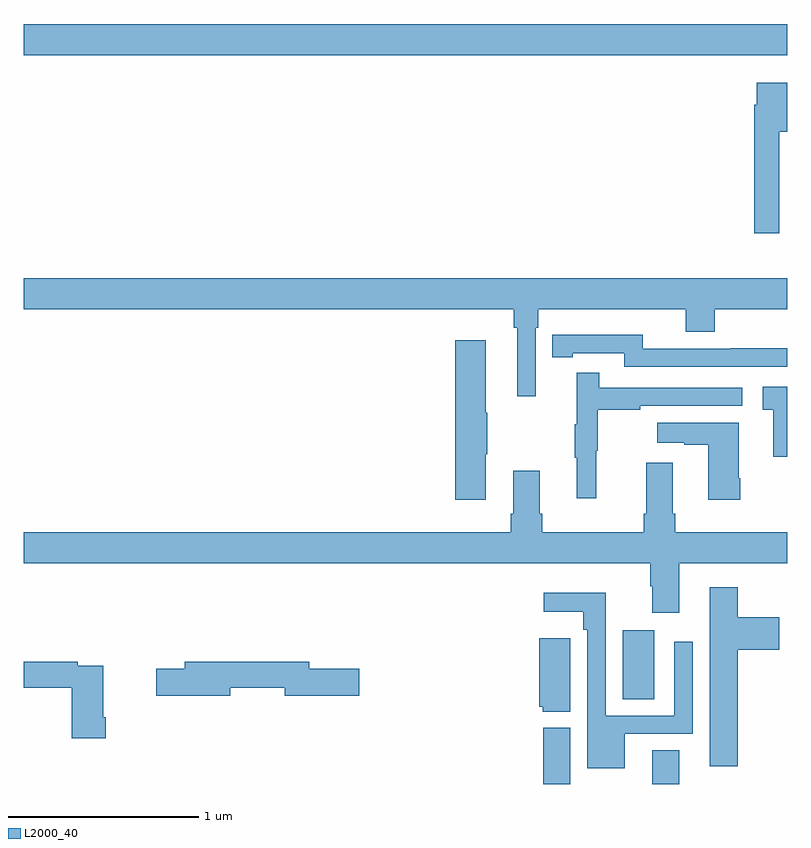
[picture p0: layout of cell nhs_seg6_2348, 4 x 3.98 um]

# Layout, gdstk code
import gdstk
lib = gdstk.Library(unit=1e-6, precision=1e-09)
def R(c, l, rs):  # rectangles x0, y0, x1, y1
    for r in rs: c.add(gdstk.rectangle(r[:2], r[2:], *l))
def P(c, l, *ps):  # polygons
    for p in ps: c.add(gdstk.Polygon(p, *l))
L2000_40 = (2000, 40)

nhs_seg6_2348 = lib.new_cell('nhs_seg6_2348')
R(nhs_seg6_2348, L2000_40, [(253.721,959.5,253.864,959.794), (254.294,959.5,254.434,959.678), (254.138,959.944,254.305,960.307), (251,963.32,255,963.484)])
P(nhs_seg6_2348, L2000_40, [(254.959,962.919),(255,962.919),(255,963.175),(254.84,963.175),(254.84,963.062),(254.828,963.062),(254.828,962.388),(254.959,962.388)],
  [(253.683,961.892),(253.697,961.892),(253.697,961.988),(254.468,961.988),(254.468,961.871),(254.621,961.871),(254.621,961.988),(255,961.988),(255,962.152),(251,962.152),(251,961.988),(253.567,961.988),(253.567,961.892),(253.586,961.892),(253.586,961.533),(253.683,961.533)],
  [(255,961.784),(254.704,961.784),(254.704,961.782),(254.244,961.782),(254.244,961.855),(253.876,961.855),(253.876,961.854),(253.768,961.854),(253.768,961.738),(253.876,961.738),(253.876,961.758),(254.148,961.758),(254.148,961.686),(255,961.686)],
  [(253.42,961.228),(253.428,961.228),(253.428,961.445),(253.42,961.445),(253.42,961.825),(253.262,961.825),(253.262,960.99),(253.42,960.99)],
  [(254,961.248),(254.008,961.248),(254.008,961.462),(254.231,961.462),(254.231,961.482),(254.764,961.482),(254.764,961.578),(254.015,961.578),(254.015,961.657),(253.898,961.657),(253.898,961.385),(253.887,961.385),(253.887,961.211),(253.898,961.211),(253.898,960.999),(254,960.999)],
  [(255,961.582),(254.874,961.582),(254.874,961.461),(254.927,961.461),(254.927,961.215),(255,961.215)],
  [(254.754,961.102),(254.746,961.102),(254.746,961.393),(254.319,961.393),(254.319,961.289),(254.462,961.289),(254.462,961.279),(254.588,961.279),(254.588,960.99),(254.754,960.99)],
  [(254.434,960.656),(255,960.656),(255,960.82),(254.414,960.82),(254.414,960.916),(254.401,960.916),(254.401,961.183),(254.261,961.183),(254.261,960.916),(254.249,960.916),(254.249,960.82),(253.718,960.82),(253.718,960.916),(253.705,960.916),(253.705,961.141),(253.565,961.141),(253.565,960.916),(253.553,960.916),(253.553,960.82),(251,960.82),(251,960.656),(254.282,960.656),(254.282,960.536),(254.294,960.536),(254.294,960.399),(254.434,960.399)],
  [(254.741,960.203),(254.959,960.203),(254.959,960.373),(254.741,960.373),(254.741,960.532),(254.594,960.532),(254.594,959.592),(254.741,959.592)],
  [(254.149,959.763),(254.505,959.763),(254.505,960.247),(254.409,960.247),(254.409,959.859),(254.049,959.859),(254.049,960.502),(253.725,960.502),(253.725,960.404),(253.933,960.404),(253.933,960.308),(253.953,960.308),(253.953,959.582),(254.149,959.582)],
  [(253.864,960.265),(253.7,960.265),(253.7,959.904),(253.719,959.904),(253.719,959.879),(253.864,959.879)],
  [(252.082,960.004),(252.368,960.004),(252.368,959.962),(252.757,959.962),(252.757,960.104),(252.496,960.104),(252.496,960.14),(251.843,960.14),(251.843,960.104),(251.694,960.104),(251.694,959.962),(252.082,959.962)],
  [(251.429,959.851),(251.416,959.851),(251.416,960.12),(251.282,960.12),(251.282,960.14),(251,960.14),(251,960.004),(251.251,960.004),(251.251,959.739),(251.429,959.739)])

lib.write_gds('nhs_seg6_2348.gds')
